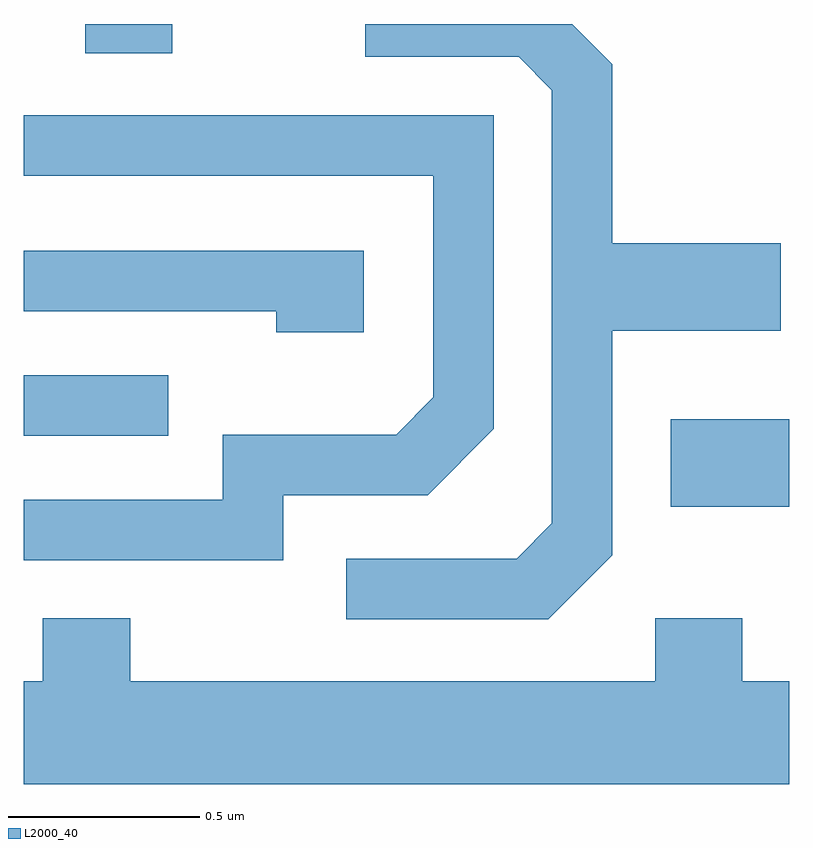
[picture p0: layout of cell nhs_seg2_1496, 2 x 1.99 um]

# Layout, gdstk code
import gdstk
lib = gdstk.Library(unit=1e-6, precision=1e-09)
def R(c, l, rs):  # rectangles x0, y0, x1, y1
    for r in rs: c.add(gdstk.rectangle(r[:2], r[2:], *l))
def P(c, l, *ps):  # polygons
    for p in ps: c.add(gdstk.Polygon(p, *l))
L2000_40 = (2000, 40)

nhs_seg2_1496 = lib.new_cell('nhs_seg2_1496')
R(nhs_seg2_1496, L2000_40, [(197.301,1104.541,197.611,1104.769), (195.611,1104.726,195.988,1104.884), (195.771,1105.726,195.999,1105.802)])
P(nhs_seg2_1496, L2000_40, [(197.149,1104.414),(197.149,1105.001),(197.589,1105.001),(197.589,1105.229),(197.149,1105.229),(197.149,1105.697),(197.044,1105.802),(196.503,1105.802),(196.503,1105.716),(196.904,1105.716),(196.991,1105.629),(196.991,1104.497),(196.899,1104.404),(196.453,1104.404),(196.453,1104.246),(196.982,1104.246)],
  [(196.289,1104.571),(196.667,1104.571),(196.839,1104.744),(196.839,1105.564),(195.611,1105.564),(195.611,1105.406),(196.681,1105.406),(196.681,1104.827),(196.584,1104.729),(196.131,1104.729),(196.131,1104.559),(195.611,1104.559),(195.611,1104.401),(196.289,1104.401)],
  [(196.499,1105.209),(195.611,1105.209),(195.611,1105.051),(196.271,1105.051),(196.271,1104.996),(196.499,1104.996)],
  [(197.611,1104.084),(197.489,1104.084),(197.489,1104.249),(197.261,1104.249),(197.261,1104.084),(195.889,1104.084),(195.889,1104.249),(195.661,1104.249),(195.661,1104.084),(195.611,1104.084),(195.611,1103.816),(197.611,1103.816)])

lib.write_gds('nhs_seg2_1496.gds')
